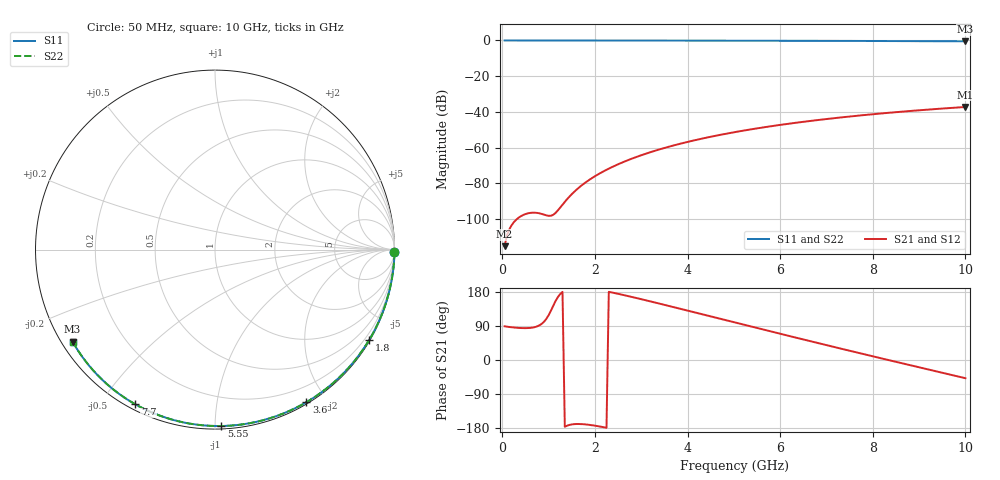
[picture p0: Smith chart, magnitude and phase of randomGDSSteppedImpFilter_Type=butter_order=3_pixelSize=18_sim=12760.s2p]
! freq	dB(S11)	phase(S11)	dB(S12)	phase(S12)
!  dB(S21)	phase(S21)	dB(S22)	phase(S22)
!S-par simulation data
#  GHz  S  DB  R 50
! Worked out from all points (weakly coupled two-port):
!   200 points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, 50 MHz to 10 GHz, reference 50 ohm
!   highest |S21| = -37.27 dB at 10 GHz (marker M1); lowest = -115.2 dB at 50 MHz (marker M2)
!   lowest |S11| = -0.5 dB at 10 GHz (marker M3), VSWR 34.99, Z = 1.55 - j14.7 ohm
!   |S11| at or under -10 dB: nowhere
!   |S22| runs from -0.5 to 0.0 dB; largest |S21 - S12| = 0
!   S11 on the Smith chart (normalised r, x): 50 MHz: open; 1.8 GHz: 0.03, -3.69; 3.6 GHz: 0.02, -1.76; 5.55 GHz: 0.02, -1.04; 7.7 GHz: 0.02, -0.61; 10 GHz: 0.03, -0.29
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0.05  -0.00 -0.9  -115.23 88.9  -115.23 88.9  -0.00 -0.9
0.45  -0.01 -7.7  -97.78 84.1  -97.78 84.1  -0.01 -7.7
0.9  -0.02 -15.3  -97.56 100.8  -97.56 100.8  -0.02 -15.3
1.3  -0.03 -22.0  -91.96 179.7  -91.96 179.7  -0.03 -22.0
1.75  -0.04 -29.5  -80.46 -169.5  -80.46 -169.5  -0.04 -29.5
1.8  -0.04 -30.3  -79.49 -170.0  -79.49 -170.0  -0.04 -30.3
1.95  -0.04 -32.8  -76.86 -172.3  -76.86 -172.3  -0.04 -32.8
2.1  -0.04 -35.2  -74.54 -175.3  -74.54 -175.3  -0.04 -35.2
2.3  -0.05 -38.5  -71.80 179.9  -71.80 179.9  -0.05 -38.5
2.5  -0.05 -41.7  -69.37 174.7  -69.37 174.7  -0.05 -41.7
2.9  -0.06 -48.1  -65.22 163.5  -65.22 163.5  -0.06 -48.1
3.4  -0.07 -56.0  -60.97 148.6  -60.97 148.6  -0.07 -56.0
3.6  -0.08 -59.1  -59.50 142.6  -59.50 142.6  -0.08 -59.1
4.3  -0.10 -69.7  -55.05 121.2  -55.05 121.2  -0.10 -69.7
5.05  -0.12 -80.8  -51.21 98.2  -51.21 98.2  -0.12 -80.8
5.55  -0.14 -88.0  -49.04 82.9  -49.04 82.9  -0.14 -87.9
6.1  -0.17 -95.7  -46.94 66.2  -46.94 66.2  -0.17 -95.7
6.7  -0.20 -103.9  -44.93 48.2  -44.93 48.2  -0.20 -103.9
7.7  -0.27 -117.3  -42.08 18.5  -42.08 18.5  -0.27 -117.2
8.35  -0.32 -125.8  -40.51 -0.5  -40.51 -0.5  -0.32 -125.7
9.2  -0.40 -136.8  -38.71 -25.0  -38.71 -25.0  -0.40 -136.8
10  -0.50 -147.2  -37.27 -48.0  -37.27 -48.0  -0.50 -147.1
